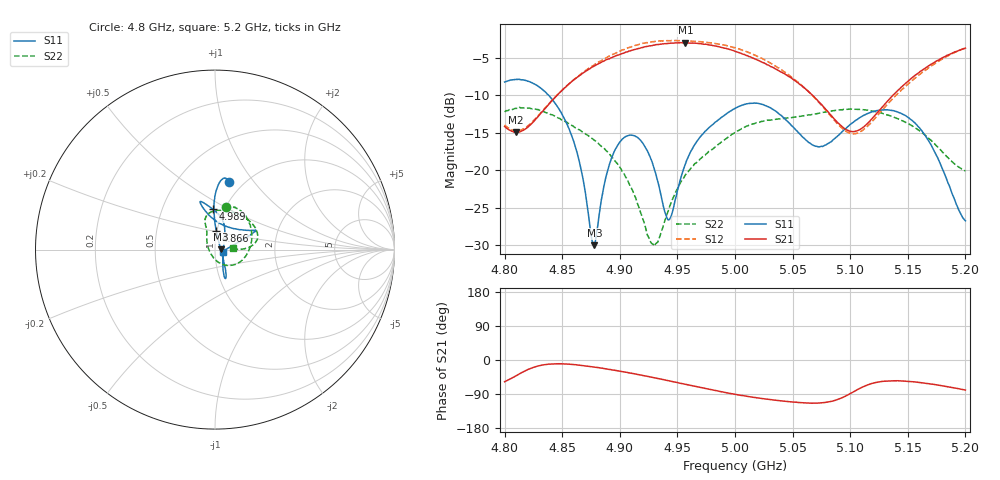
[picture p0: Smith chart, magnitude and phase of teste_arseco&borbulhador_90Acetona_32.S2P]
! Network Analyzer HP8722D
! Hewlett-Packard
! Data name: Linha & Wilkinson
! Saver's name: Rodrigo Anjos
! Comments: Teste da utilização de aquisição
! continua pelo VNA HP8722D
! Time and date: 17/4/2025 11:19
!  Frequency  S11  S21  S12  S22
# HZ  S  MA R 50
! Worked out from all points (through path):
!   401 points, 4.8 GHz to 5.2 GHz, reference 50 ohm
!   highest |S21| = -3.01 dB at 4.957 GHz (marker M1); lowest = -14.9 dB at 4.81 GHz (marker M2)
!   lowest |S11| = -30.0 dB at 4.878 GHz (marker M3), VSWR 1.07, Z = 53.3 + j0.251 ohm
!   |S11| at or under -10 dB: 4.838 GHz to end of sweep
!   |S22| runs from -30.1 to -11.6 dB; largest |S21 - S12| = 1.4
!   S11 on the Smith chart (normalised r, x): 4.8 GHz: 0.86, +0.76; 4.866 GHz: 0.99, +0.21; 4.989 GHz: 0.88, +0.42; 5.2 GHz: 1.09, -0.03
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4.8e9  0.3869 78.4  0.1956 -57.3  0.2001 77.6  0.2449 76.1
4.81e9  0.4027 81.4  0.1793 -41.5  0.1826 91.9  0.2584 67.4
4.843e9  0.2853 90.2  0.3011 -10.2  0.3023 122.8  0.2308 28.6
4.866e9  0.1045 85.7  0.4316 -13.9  0.4356 122.6  0.1839 -5.5
4.867e9  0.09603 84.5  0.4382 -14.3  0.4411 122.4  0.1812 -7.1
4.875e9  0.03708 47.9  0.481 -17.3  0.4874 120.8  0.1646 -19.2
4.878e9  0.03166 4.3  0.4951 -18.8  0.504 120.1  0.1582 -24.1
4.89e9  0.1035 -58.7  0.55 -24.5  0.5713 116.1  0.1306 -41.4
4.903e9  0.1633 -67.6  0.6012 -31.1  0.6342 110.7  0.09613 -60.4
4.919e9  0.1546 -70.9  0.6557 -40.0  0.6945 102.0  0.04996 -95.2
4.928e9  0.1138 -67.1  0.6759 -45.5  0.7168 96.4  0.03243 -141.9
4.934e9  0.07854 -56.5  0.6877 -49.5  0.7267 92.6  0.03512 175.7
4.943e9  0.04691 1.1  0.6999 -55.2  0.7301 86.8  0.0566 140.6
4.957e9  0.1106 60.3  0.7072 -64.1  0.7269 78.0  0.09333 119.5
4.989e9  0.2272 93.4  0.6552 -84.1  0.6842 57.3  0.1554 110.6
5e9  0.2586 101.4  0.6195 -90.6  0.6553 50.4  0.179 108.2
5.029e9  0.2645 107.3  0.5018 -103.8  0.527 34.8  0.2153 91.4
5.067e9  0.1478 79.0  0.3168 -113.9  0.3161 26.8  0.2355 57.7
5.102e9  0.2068 31.3  0.1808 -85.5  0.1753 58.4  0.2551 26.8
5.134e9  0.2516 24.8  0.2974 -55.0  0.2835 91.2  0.2313 10.6
5.164e9  0.175 20.3  0.472 -60.8  0.4566 87.1  0.1743 2.3
5.2e9  0.04608 -17.3  0.6502 -79.3  0.6508 69.8  0.09882 5.2
